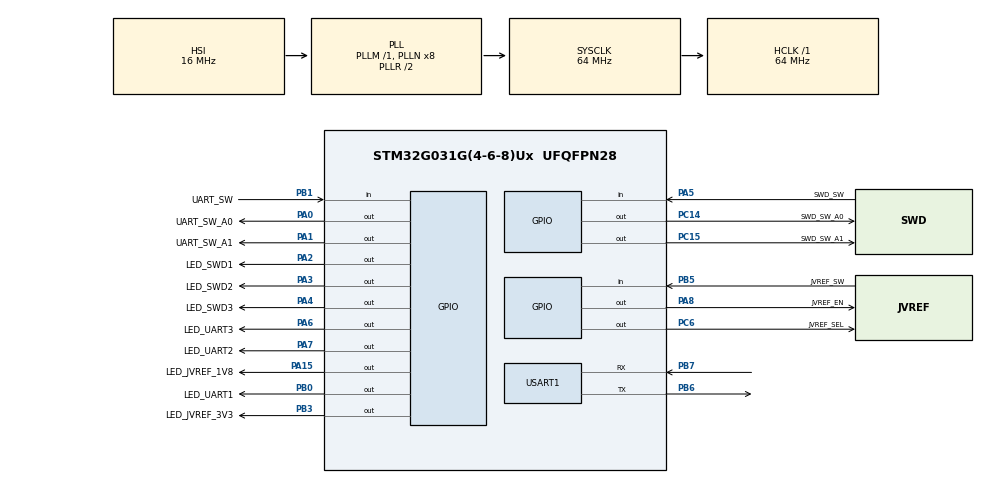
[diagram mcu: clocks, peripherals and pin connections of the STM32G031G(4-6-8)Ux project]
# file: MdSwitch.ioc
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Mcu.Family=STM32G0
Mcu.Name=STM32G031G(4-6-8)Ux
Mcu.Package=UFQFPN28
PA0.GPIO_Label=UART_SW_A0
PA0.GPIO_PuPd=GPIO_PULLUP
PA0.Signal=GPIO_Output
PA1.GPIO_Label=UART_SW_A1
PA1.GPIO_PuPd=GPIO_PULLUP
PA1.Signal=GPIO_Output
PA13.Mode=Serial_Wire
PA13.Signal=SYS_SWDIO
PA14-BOOT0.Mode=Serial_Wire
PA14-BOOT0.Signal=SYS_SWCLK
PA15.GPIO_Label=LED_JVREF_1V8
PA15.GPIO_PuPd=GPIO_PULLUP
PA15.Signal=GPIO_Output
PA2.GPIO_Label=LED_SWD1
PA2.GPIO_PuPd=GPIO_PULLUP
PA2.Signal=GPIO_Output
PA3.GPIO_Label=LED_SWD2
PA3.GPIO_PuPd=GPIO_PULLUP
PA3.Signal=GPIO_Output
PA4.GPIO_Label=LED_SWD3
PA4.GPIO_PuPd=GPIO_PULLUP
PA4.Signal=GPIO_Output
PA5.GPIO_Label=SWD_SW
PA5.GPIO_PuPd=GPIO_PULLUP
PA5.Signal=GPIO_Input
PA6.GPIO_Label=LED_UART3
PA6.GPIO_PuPd=GPIO_PULLUP
PA6.Signal=GPIO_Output
PA7.GPIO_Label=LED_UART2
PA7.GPIO_PuPd=GPIO_PULLUP
PA7.Signal=GPIO_Output
PA8.GPIO_Label=JVREF_EN
PA8.GPIO_PuPd=GPIO_NOPULL
PA8.Signal=GPIO_Output
PB0.GPIO_Label=LED_UART1
PB0.GPIO_PuPd=GPIO_PULLUP
PB0.Signal=GPIO_Output
PB1.GPIO_Label=UART_SW
PB1.GPIO_PuPd=GPIO_PULLUP
PB1.Signal=GPIO_Input
PB3.GPIO_Label=LED_JVREF_3V3
PB3.GPIO_PuPd=GPIO_PULLUP
PB3.Signal=GPIO_Output
PB5.GPIO_Label=JVREF_SW
PB5.GPIO_PuPd=GPIO_PULLUP
PB5.Signal=GPIO_Input
PB6.Mode=Asynchronous
PB6.Signal=USART1_TX
PB7.Mode=Asynchronous
PB7.Signal=USART1_RX
PC14-OSC32_IN\ (PC14).GPIO_Label=SWD_SW_A0
PC14-OSC32_IN\ (PC14).GPIO_PuPd=GPIO_NOPULL
PC14-OSC32_IN\ (PC14).Signal=GPIO_Output
PC15-OSC32_OUT\ (PC15).GPIO_Label=SWD_SW_A1
PC15-OSC32_OUT\ (PC15).GPIO_PuPd=GPIO_NOPULL
PC15-OSC32_OUT\ (PC15).Signal=GPIO_Output
PC6.GPIO_Label=JVREF_SEL
PC6.Signal=GPIO_Output
ProjectManager.HeapSize=0x200
ProjectManager.StackSize=0x400
ProjectManager.TargetToolchain=MDK-ARM V5.32
RCC.ADCFreq_Value=64000000
RCC.AHBFreq_Value=64000000
RCC.CortexFreq_Value=64000000
RCC.EXTERNAL_CLOCK_VALUE=12288000
RCC.HCLKFreq_Value=64000000
RCC.HSE_VALUE=8000000
RCC.HSI_VALUE=16000000
RCC.LSE_VALUE=32768
RCC.SYSCLKFreq_VALUE=64000000
RCC.SYSCLKSource=RCC_SYSCLKSOURCE_PLLCLK
RCC.VCOOutputFreq_Value=128000000
USART1.VirtualMode-Asynchronous=VM_ASYNC
board=custom

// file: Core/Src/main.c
/* USER CODE BEGIN Header */
/**
  ******************************************************************************
  * @file           : main.c
  * @brief          : Main program body
  ******************************************************************************
  * @attention
  *
  * Copyright (c) 2023 STMicroelectronics.
  * All rights reserved.
  *
  * This software is licensed under terms that can be found in the LICENSE file
  * in the root directory of this software component.
  * If no LICENSE file comes with this software, it is provided AS-IS.
  *
  ******************************************************************************
  */
/* USER CODE END Header */
#include "main.h"

/* USER CODE BEGIN Includes */
#include "stdint.h"
#include "string.h"
#include "md_button.h"
/* USER CODE END Includes */

UART_HandleTypeDef huart1;

void SystemClock_Config(void);
static void MX_GPIO_Init(void);
static void MX_USART1_UART_Init(void);

/* USER CODE BEGIN 0 */
typedef enum
{
    SWD_BUTTON = 0,
    UART_BUTTON,
		JVREF_BUTTON,
    SW_BUTTON_MAX
} sw_button_t;

static md_button_t sw_button[SW_BUTTON_MAX];

static uint8_t common_btn_read(void *arg)
{
    uint8_t value = 0;

    md_button_t *btn = (md_button_t *)arg;

    switch (btn->id)
    {
      case SWD_BUTTON:
          value = HAL_GPIO_ReadPin(SWD_SW_GPIO_Port, SWD_SW_Pin);
          break;

      case UART_BUTTON:
          value = HAL_GPIO_ReadPin(UART_SW_GPIO_Port, UART_SW_Pin);
          break;

      case JVREF_BUTTON:
          value = HAL_GPIO_ReadPin(JVREF_SW_GPIO_Port, JVREF_SW_Pin);
          break;

      default: break;
    }

    return value;
}

uint8_t key_swd_flag = 0;
uint8_t key_uart_flag = 0;
uint8_t key_jvref_flag = 0;

static void common_btn_evt_cb(void *arg)
{
    md_button_t *btn = (md_button_t *)arg;

    if (btn->id == SWD_BUTTON && btn->event == MD_BTN_CLICK)
    {
      key_swd_flag = 1;
    }
    else if (btn->id == UART_BUTTON && btn->event == MD_BTN_CLICK)
    {
      key_uart_flag = 1;
    }
    else if (btn->id == JVREF_BUTTON && btn->event == MD_BTN_CLICK)
    {
      key_jvref_flag = 1;
    }
}

static void sw_button_init(uint32_t freq)
{
    uint32_t button_cnt = 0;
    memset(&sw_button[0], 0x0, sizeof(sw_button));

    md_button_set_scan_freq(freq);

    for (int i = 0; i < SW_BUTTON_MAX; i ++)
    {
        sw_button[i].usr_button_read = common_btn_read;
        sw_button[i].cb = common_btn_evt_cb;
        sw_button[i].active_level = 0;
        sw_button[i].short_press_duration = md_button_ms2cnt(800);
        sw_button[i].long_press_duration = md_button_ms2cnt(3000);
        sw_button[i].max_multiple_clicks_interval = md_button_ms2cnt(200);
        button_cnt = md_button_add(&sw_button[i]);
    }
}

#define INDEX_NONE 0
void uart_sel_ch(uint8_t index)
{
  uint8_t a0 = 1;
  uint8_t a1 = 1;
  uint8_t led1 = 1;
  uint8_t led2 = 1;
  uint8_t led3 = 1;

  switch(index)
  {
    case 0: break;
    case 1:
    {
      a0 = 1; a1 = 0;
      led1 = 0;
    } break;

    case 2:
    {
      a0 = 0; a1 = 1;
      led2 = 0;
    } break;

    case 3:
    {
      a0 = 0; a1 = 0;
      led3 = 0;
    } break;

    default: break;
  }
  HAL_GPIO_WritePin(LED_UART1_GPIO_Port, LED_UART1_Pin, led1);
  HAL_GPIO_WritePin(LED_UART2_GPIO_Port, LED_UART2_Pin, led2);
  HAL_GPIO_WritePin(LED_UART3_GPIO_Port, LED_UART3_Pin, led3);
  HAL_GPIO_WritePin(UART_SW_A0_GPIO_Port, UART_SW_A0_Pin, a0);
  HAL_GPIO_WritePin(UART_SW_A1_GPIO_Port, UART_SW_A1_Pin, a1);
}

void swd_sel_ch(uint8_t index)
{
  uint8_t a0 = 1;
  uint8_t a1 = 1;
  uint8_t led1 = 1;
  uint8_t led2 = 1;
  uint8_t led3 = 1;

  switch(index)
  {
    case 0: break;
    case 1:
    {
      a0 = 1; a1 = 1;
      led1 = 0;
    } break;

    case 2:
    {
      a0 = 1; a1 = 0;
      led2 = 0;
    } break;

    case 3:
    {
      a0 = 0; a1 = 1;
      led3 = 0;
    } break;

    default: break;
  }
  HAL_GPIO_WritePin(LED_SWD1_GPIO_Port, LED_SWD1_Pin, led1);
  HAL_GPIO_WritePin(LED_SWD2_GPIO_Port, LED_SWD2_Pin, led2);
  HAL_GPIO_WritePin(LED_SWD3_GPIO_Port, LED_SWD3_Pin, led3);
  HAL_GPIO_WritePin(SWD_SW_A0_GPIO_Port, SWD_SW_A0_Pin, a0);
  HAL_GPIO_WritePin(SWD_SW_A1_GPIO_Port, SWD_SW_A1_Pin, a1);
}

void jvref_sel_ch(uint8_t index)
{
  /**
   * 0 -- none
   * 1 -- 3v3
   * 2 -- 1v8
   * 3 -- none
   */
  switch(index)
  {
    case 0:
    case 3:
    {
      HAL_GPIO_WritePin(JVREF_EN_GPIO_Port, JVREF_EN_Pin, 0);
      HAL_GPIO_WritePin(LED_JVREF_1V8_GPIO_Port, LED_JVREF_1V8_Pin, 1);
      HAL_GPIO_WritePin(LED_JVREF_3V3_GPIO_Port, LED_JVREF_3V3_Pin, 1);
    } break;

    case 2:
    {
      HAL_GPIO_WritePin(JVREF_EN_GPIO_Port, JVREF_EN_Pin, 1);
			HAL_GPIO_WritePin(JVREF_SEL_GPIO_Port,  JVREF_SEL_Pin, 1);
      HAL_GPIO_WritePin(LED_JVREF_1V8_GPIO_Port, LED_JVREF_1V8_Pin, 0);
      HAL_GPIO_WritePin(LED_JVREF_3V3_GPIO_Port, LED_JVREF_3V3_Pin, 1);
    } break;
    case 1:
    {
      HAL_GPIO_WritePin(JVREF_EN_GPIO_Port, JVREF_EN_Pin, 1);
      HAL_GPIO_WritePin(JVREF_SEL_GPIO_Port, JVREF_SEL_Pin, 0);
      HAL_GPIO_WritePin(LED_JVREF_1V8_GPIO_Port, LED_JVREF_1V8_Pin, 1);
      HAL_GPIO_WritePin(LED_JVREF_3V3_GPIO_Port, LED_JVREF_3V3_Pin, 0);
    } break;
  }
}
void jlink_switcher_init(void)
{
  uart_sel_ch(INDEX_NONE);
  swd_sel_ch(INDEX_NONE);
	jvref_sel_ch(INDEX_NONE);
  sw_button_init(100);
}
static uint8_t uart_index = 0;
static uint8_t swd_index = 0;
static uint8_t jvref_index[4] = {0};

void jlink_switcher_process(void)
{
  static uint32_t last_tick = 0;
  uint32_t now_tick = HAL_GetTick();
  if (now_tick - last_tick >= 10)
  {
    last_tick = now_tick;
    md_button_scan();
  }

  if (key_swd_flag == 1)
  {
    key_swd_flag = 0;
    swd_index ++;
    if (swd_index > 3) {
      swd_index = 1;
    }
  }

  if (key_uart_flag == 1)
  {
    key_uart_flag = 0;
    uart_index ++;
    if (uart_index > 3) {
      uart_index = 1;
    }
  }

  if (key_jvref_flag == 1)
  {
    key_jvref_flag = 0;

    jvref_index[swd_index]++;

    if (jvref_index[swd_index] > 3) {
      jvref_index[swd_index] = 1;
    }
  }

  uart_sel_ch(uart_index);
  swd_sel_ch(swd_index);
  if (swd_index != INDEX_NONE)
  {
    jvref_sel_ch(jvref_index[swd_index]);
  }
}
/* USER CODE END 0 */

int main(void)
{

  /* MCU Configuration--------------------------------------------------------*/

  /* Reset of all peripherals, Initializes the Flash interface and the Systick. */
  HAL_Init();

  /* Configure the system clock */
  SystemClock_Config();

  /* Initialize all configured peripherals */
  MX_GPIO_Init();
  MX_USART1_UART_Init();
  /* USER CODE BEGIN 2 */
	jlink_switcher_init();
  /* USER CODE END 2 */

  /* Infinite loop */
  while (1)
  {
		jlink_switcher_process();
  }
}

void SystemClock_Config(void)
{
  RCC_OscInitTypeDef RCC_OscInitStruct = {0};
  RCC_ClkInitTypeDef RCC_ClkInitStruct = {0};

  /** Configure the main internal regulator output voltage
  */
  HAL_PWREx_ControlVoltageScaling(PWR_REGULATOR_VOLTAGE_SCALE1);

  /** Initializes the RCC Oscillators according to the specified parameters
  * in the RCC_OscInitTypeDef structure.
  */
  RCC_OscInitStruct.OscillatorType = RCC_OSCILLATORTYPE_HSI;
  RCC_OscInitStruct.HSIState = RCC_HSI_ON;
  RCC_OscInitStruct.HSIDiv = RCC_HSI_DIV1;
  RCC_OscInitStruct.HSICalibrationValue = RCC_HSICALIBRATION_DEFAULT;
  RCC_OscInitStruct.PLL.PLLState = RCC_PLL_ON;
  RCC_OscInitStruct.PLL.PLLSource = RCC_PLLSOURCE_HSI;
  RCC_OscInitStruct.PLL.PLLM = RCC_PLLM_DIV1;
  RCC_OscInitStruct.PLL.PLLN = 8;
  RCC_OscInitStruct.PLL.PLLP = RCC_PLLP_DIV2;
  RCC_OscInitStruct.PLL.PLLQ = RCC_PLLQ_DIV2;
  RCC_OscInitStruct.PLL.PLLR = RCC_PLLR_DIV2;
  if (HAL_RCC_OscConfig(&RCC_OscInitStruct) != HAL_OK)
  {
    Error_Handler();
  }

  /** Initializes the CPU, AHB and APB buses clocks
  */
  RCC_ClkInitStruct.ClockType = RCC_CLOCKTYPE_HCLK|RCC_CLOCKTYPE_SYSCLK
                              |RCC_CLOCKTYPE_PCLK1;
  RCC_ClkInitStruct.SYSCLKSource = RCC_SYSCLKSOURCE_PLLCLK;
  RCC_ClkInitStruct.AHBCLKDivider = RCC_SYSCLK_DIV1;
  RCC_ClkInitStruct.APB1CLKDivider = RCC_HCLK_DIV1;

  if (HAL_RCC_ClockConfig(&RCC_ClkInitStruct, FLASH_LATENCY_2) != HAL_OK)
  {
    Error_Handler();
  }
}

static void MX_USART1_UART_Init(void)
{

  huart1.Instance = USART1;
  huart1.Init.BaudRate = 115200;
  huart1.Init.WordLength = UART_WORDLENGTH_8B;
  huart1.Init.StopBits = UART_STOPBITS_1;
  huart1.Init.Parity = UART_PARITY_NONE;
  huart1.Init.Mode = UART_MODE_TX_RX;
  huart1.Init.HwFlowCtl = UART_HWCONTROL_NONE;
  huart1.Init.OverSampling = UART_OVERSAMPLING_16;
  huart1.Init.OneBitSampling = UART_ONE_BIT_SAMPLE_DISABLE;
  huart1.Init.ClockPrescaler = UART_PRESCALER_DIV1;
  huart1.AdvancedInit.AdvFeatureInit = UART_ADVFEATURE_NO_INIT;
  if (HAL_UART_Init(&huart1) != HAL_OK)
  {
    Error_Handler();
  }
  if (HAL_UARTEx_SetTxFifoThreshold(&huart1, UART_TXFIFO_THRESHOLD_1_8) != HAL_OK)
  {
    Error_Handler();
  }
  if (HAL_UARTEx_SetRxFifoThreshold(&huart1, UART_RXFIFO_THRESHOLD_1_8) != HAL_OK)
  {
    Error_Handler();
  }
  if (HAL_UARTEx_DisableFifoMode(&huart1) != HAL_OK)
  {
    Error_Handler();
  }

}

static void MX_GPIO_Init(void)
{
  GPIO_InitTypeDef GPIO_InitStruct = {0};

  /* GPIO Ports Clock Enable */
  __HAL_RCC_GPIOC_CLK_ENABLE();
  __HAL_RCC_GPIOA_CLK_ENABLE();
  __HAL_RCC_GPIOB_CLK_ENABLE();

  /*Configure GPIO pin Output Level */
  HAL_GPIO_WritePin(GPIOC, SWD_SW_A0_Pin|SWD_SW_A1_Pin|JVREF_SEL_Pin, GPIO_PIN_RESET);

  /*Configure GPIO pin Output Level */
  HAL_GPIO_WritePin(GPIOA, UART_SW_A0_Pin|UART_SW_A1_Pin|LED_SWD1_Pin|LED_SWD2_Pin
                          |LED_SWD3_Pin|LED_UART3_Pin|LED_UART2_Pin|JVREF_EN_Pin
                          |LED_JVREF_1V8_Pin, GPIO_PIN_RESET);

  /*Configure GPIO pin Output Level */
  HAL_GPIO_WritePin(GPIOB, LED_UART1_Pin|LED_JVREF_3V3_Pin, GPIO_PIN_RESET);

  /*Configure GPIO pins : SWD_SW_A0_Pin SWD_SW_A1_Pin JVREF_SEL_Pin */
  GPIO_InitStruct.Pin = SWD_SW_A0_Pin|SWD_SW_A1_Pin|JVREF_SEL_Pin;
  GPIO_InitStruct.Mode = GPIO_MODE_OUTPUT_PP;
  GPIO_InitStruct.Pull = GPIO_NOPULL;
  GPIO_InitStruct.Speed = GPIO_SPEED_FREQ_LOW;
  HAL_GPIO_Init(GPIOC, &GPIO_InitStruct);

  /*Configure GPIO pins : UART_SW_A0_Pin UART_SW_A1_Pin LED_SWD1_Pin LED_SWD2_Pin
                           LED_SWD3_Pin LED_UART3_Pin LED_UART2_Pin LED_JVREF_1V8_Pin */
  GPIO_InitStruct.Pin = UART_SW_A0_Pin|UART_SW_A1_Pin|LED_SWD1_Pin|LED_SWD2_Pin
                          |LED_SWD3_Pin|LED_UART3_Pin|LED_UART2_Pin|LED_JVREF_1V8_Pin;
  GPIO_InitStruct.Mode = GPIO_MODE_OUTPUT_PP;
  GPIO_InitStruct.Pull = GPIO_PULLUP;
  GPIO_InitStruct.Speed = GPIO_SPEED_FREQ_LOW;
  HAL_GPIO_Init(GPIOA, &GPIO_InitStruct);

  /*Configure GPIO pin : SWD_SW_Pin */
  GPIO_InitStruct.Pin = SWD_SW_Pin;
  GPIO_InitStruct.Mode = GPIO_MODE_INPUT;
  GPIO_InitStruct.Pull = GPIO_PULLUP;
  HAL_GPIO_Init(SWD_SW_GPIO_Port, &GPIO_InitStruct);

  /*Configure GPIO pins : LED_UART1_Pin LED_JVREF_3V3_Pin */
  GPIO_InitStruct.Pin = LED_UART1_Pin|LED_JVREF_3V3_Pin;
  GPIO_InitStruct.Mode = GPIO_MODE_OUTPUT_PP;
  GPIO_InitStruct.Pull = GPIO_PULLUP;
  GPIO_InitStruct.Speed = GPIO_SPEED_FREQ_LOW;
  HAL_GPIO_Init(GPIOB, &GPIO_InitStruct);

  /*Configure GPIO pins : UART_SW_Pin JVREF_SW_Pin */
  GPIO_InitStruct.Pin = UART_SW_Pin|JVREF_SW_Pin;
  GPIO_InitStruct.Mode = GPIO_MODE_INPUT;
  GPIO_InitStruct.Pull = GPIO_PULLUP;
  HAL_GPIO_Init(GPIOB, &GPIO_InitStruct);

  /*Configure GPIO pin : JVREF_EN_Pin */
  GPIO_InitStruct.Pin = JVREF_EN_Pin;
  GPIO_InitStruct.Mode = GPIO_MODE_OUTPUT_PP;
  GPIO_InitStruct.Pull = GPIO_NOPULL;
  GPIO_InitStruct.Speed = GPIO_SPEED_FREQ_LOW;
  HAL_GPIO_Init(JVREF_EN_GPIO_Port, &GPIO_InitStruct);

}

void Error_Handler(void)
{
  __disable_irq();
  while (1)
  {
  }
}
